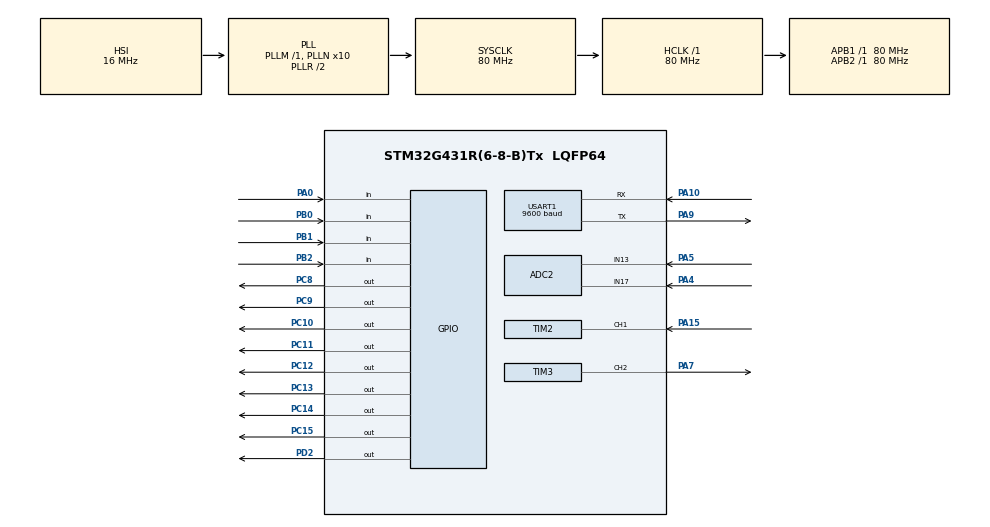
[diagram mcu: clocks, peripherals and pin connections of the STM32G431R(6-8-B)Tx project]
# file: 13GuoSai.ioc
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ADC2.Channel-0\#ChannelRegularConversion=ADC_CHANNEL_17
ADC2.Channel-1\#ChannelRegularConversion=ADC_CHANNEL_13
ADC2.DiscontinuousConvMode=DISABLE
ADC2.NbrOfConversion=2
ADC2.NbrOfConversionFlag=1
ADC2.OffsetNumber-0\#ChannelRegularConversion=ADC_OFFSET_NONE
ADC2.OffsetNumber-1\#ChannelRegularConversion=ADC_OFFSET_NONE
ADC2.Rank-0\#ChannelRegularConversion=1
ADC2.Rank-1\#ChannelRegularConversion=2
ADC2.SamplingTime-0\#ChannelRegularConversion=ADC_SAMPLETIME_640CYCLES_5
ADC2.SamplingTime-1\#ChannelRegularConversion=ADC_SAMPLETIME_640CYCLES_5
Mcu.Family=STM32G4
Mcu.Name=STM32G431R(6-8-B)Tx
Mcu.Package=LQFP64
NVIC.PriorityGroup=NVIC_PRIORITYGROUP_4
NVIC.TIM2_IRQn=true\:1\:0\:true\:false\:true\:true\:true
NVIC.USART1_IRQn=true\:1\:0\:true\:false\:true\:true\:true
PA0.Signal=GPIO_Input
PA10.Mode=Asynchronous
PA10.Signal=USART1_RX
PA13.Mode=Serial_Wire
PA13.Signal=SYS_JTMS-SWDIO
PA14.Mode=Serial_Wire
PA14.Signal=SYS_JTCK-SWCLK
PA15.Signal=S_TIM2_CH1
PA4.Mode=IN17-Single-Ended
PA4.Signal=ADC2_IN17
PA5.Mode=IN13-Single-Ended
PA5.Signal=ADC2_IN13
PA7.Signal=S_TIM3_CH2
PA9.Mode=Asynchronous
PA9.Signal=USART1_TX
PB0.Signal=GPIO_Input
PB1.Signal=GPIO_Input
PB2.Signal=GPIO_Input
PC10.Signal=GPIO_Output
PC11.Signal=GPIO_Output
PC12.Signal=GPIO_Output
PC13.Signal=GPIO_Output
PC14-OSC32_IN.Signal=GPIO_Output
PC15-OSC32_OUT.Signal=GPIO_Output
PC8.Signal=GPIO_Output
PC9.Signal=GPIO_Output
PD2.Signal=GPIO_Output
PF0-OSC_IN.Mode=HSE-External-Oscillator
PF0-OSC_IN.Signal=RCC_OSC_IN
PF1-OSC_OUT.Mode=HSE-External-Oscillator
PF1-OSC_OUT.Signal=RCC_OSC_OUT
ProjectManager.HeapSize=0x200
ProjectManager.StackSize=0x400
ProjectManager.TargetToolchain=MDK-ARM V5
RCC.ADC12Freq_Value=80000000
RCC.AHBFreq_Value=80000000
RCC.APB1Freq_Value=80000000
RCC.APB1TimFreq_Value=80000000
RCC.APB2Freq_Value=80000000
RCC.APB2TimFreq_Value=80000000
RCC.CortexFreq_Value=80000000
RCC.EXTERNAL_CLOCK_VALUE=12288000
RCC.HCLKFreq_Value=80000000
RCC.HSE_VALUE=24000000
RCC.HSI48_VALUE=48000000
RCC.HSI_VALUE=16000000
RCC.LSE_VALUE=32768
RCC.PLLN=10
RCC.SYSCLKFreq_VALUE=80000000
RCC.SYSCLKSource=RCC_SYSCLKSOURCE_PLLCLK
RCC.USBFreq_Value=80000000
RCC.VCOOutputFreq_Value=160000000
SH.S_TIM2_CH1.0=TIM2_CH1,Input_Capture1_from_TI1
SH.S_TIM3_CH2.0=TIM3_CH2,PWM Generation2 CH2
TIM2.Channel-Input_Capture1_from_TI1=TIM_CHANNEL_1
TIM2.PeriodNoDither=10000 - 1
TIM2.Prescaler=79
TIM3.AutoReloadPreload=TIM_AUTORELOAD_PRELOAD_ENABLE
TIM3.Channel-PWM\ Generation2\ CH2=TIM_CHANNEL_2
TIM3.PeriodNoDither=100 - 1
TIM3.Prescaler=8000 - 1
USART1.BaudRate=9600
USART1.VirtualMode-Asynchronous=VM_ASYNC
VP_SYS_VS_DBSignals.Mode=DisableDeadBatterySignals
VP_TIM2_VS_ClockSourceINT.Mode=Internal
VP_TIM3_VS_ClockSourceINT.Mode=Internal
board=custom

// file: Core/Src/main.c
/* USER CODE BEGIN Header */
/**
  ******************************************************************************
  * @file           : main.c
  * @brief          : Main program body
  ******************************************************************************
  * @attention
  *
  * <h2><center>&copy; Copyright (c) 2023 STMicroelectronics.
  * All rights reserved.</center></h2>
  *
  * This software component is licensed by ST under BSD 3-Clause license,
  * the "License"; You may not use this file except in compliance with the
  * License. You may obtain a copy of the License at:
  *                        opensource.org/licenses/BSD-3-Clause
  *
  ******************************************************************************
  */
/* USER CODE END Header */
#include "main.h"
#include "adc.h"
#include "tim.h"
#include "usart.h"
#include "gpio.h"

/* USER CODE BEGIN Includes */
#include "lcd.h"
#include "i2c_hal.h"
#include "stdio.h"
#include "string.h"

/* USER CODE END Includes */

/* USER CODE BEGIN PD */
#define KEY1 HAL_GPIO_ReadPin(GPIOB,GPIO_PIN_0)
#define KEY2 HAL_GPIO_ReadPin(GPIOB,GPIO_PIN_1)
#define KEY3 HAL_GPIO_ReadPin(GPIOB,GPIO_PIN_2)
#define KEY4 HAL_GPIO_ReadPin(GPIOA,GPIO_PIN_0)
/* USER CODE END PD */

/* USER CODE BEGIN PV */
u8 key_val,key_down,key_up,key_old;
double ao1, ao2;
u8 sta_lcd;
u8 ptr[30];

unsigned char tx[21],rx,rx_buf[21],dex;//串口相关变量

u8 tc[128];
u8 tcs = 0;

u8 led_in;
u8 e2prom[5];//EEPROM存储数组

double ao1, ao2;

typedef struct
{
	double cur;
	double maxn;
	double minn;
	double tmmin;
	double avgr;
	int record;
	double sum;
}Vol;

Vol vol4, vol5;

u32 freqPa1, freqPa7;
u8 freqX = 1, VolY = 1;
u8 showN;
u8 lcdf, ff;
/* USER CODE END PV */

void SystemClock_Config(void);

/* USER CODE BEGIN 0 */
void i2c_Read(unsigned char *PucBuff,unsigned char ucAddr,unsigned char ucNum)
{
	I2CStart();
	I2CSendByte(0xa0);
	I2CWaitAck();
	I2CSendByte(ucAddr);
	I2CWaitAck();
	I2CStart();
	I2CSendByte(0xa1);
	I2CWaitAck();
	while(ucNum--)
	{
		*PucBuff++ = I2CReceiveByte();
		if(ucNum)
			I2CSendAck();
		else
			I2CSendNotAck();
	}
	I2CStop();
}

void i2c_Write(unsigned char *PucBuff,unsigned char ucAddr,unsigned char ucNum)
{
	I2CStart();
	I2CSendByte(0xa0);
	I2CWaitAck();
	I2CSendByte(ucAddr);
	I2CWaitAck();
	while(ucNum--)
	{
		I2CSendByte(*PucBuff++);
		I2CWaitAck();
	}
	I2CStop();
	HAL_Delay(5);
}

u8 key_scan()
{
	if((KEY1 == 0)||(KEY2 == 0)||(KEY3 == 0)||(KEY4 == 0))
	{
		HAL_Delay(10);
		if(KEY1 == 0) return 1;
		else if(KEY2 == 0) return 2;
		else if(KEY3 == 0) return 3;
		else if(KEY4 == 0) return 4;
	}return 0;
}

void led_dis(u8 led)
{
	HAL_GPIO_WritePin(GPIOC,0xff00,GPIO_PIN_SET);
	HAL_GPIO_WritePin(GPIOD,GPIO_PIN_2,GPIO_PIN_SET);
	HAL_GPIO_WritePin(GPIOD,GPIO_PIN_2,GPIO_PIN_RESET);

	HAL_GPIO_WritePin(GPIOC,led<<8,GPIO_PIN_RESET);
	HAL_GPIO_WritePin(GPIOD,GPIO_PIN_2,GPIO_PIN_SET);
	HAL_GPIO_WritePin(GPIOD,GPIO_PIN_2,GPIO_PIN_RESET);
}

void getADC(void)
{
	uint16_t adc = 0;
	HAL_ADC_Start(&hadc2);
	adc = HAL_ADC_GetValue(&hadc2);
	ao1 = (3.3 * adc)/4096;
//	HAL_Delay(5);
	HAL_ADC_Start(&hadc2);
	adc = HAL_ADC_GetValue(&hadc2);
	ao2 = (3.3 * adc)/4096;
//	HAL_ADC_Stop(&hadc2);
}

u8 i, j = 0;
void fresh_lcd()
{
	getADC();
	vol4.cur = ao1;
	vol5.cur = ao2;

	if(vol4.tmmin == -1)
	{
		vol4.minn = 3.3;
		vol4.maxn = 0;
		vol4.tmmin = 10;
	}

	if(vol5.tmmin == -1)
	{
		vol5.minn = 3.3;
		vol5.maxn = 0;
		vol5.tmmin = 10;
	}

	vol4.maxn = vol4.maxn < vol4.cur ? vol4.cur : vol4.maxn;
	vol5.maxn = vol5.maxn < vol5.cur ? vol5.cur : vol5.maxn;
	vol4.minn = vol4.minn > vol4.cur ? vol4.cur : vol4.minn;
	vol5.minn = vol5.minn > vol5.cur ? vol5.cur : vol5.minn;

//	for(j = 0; j < vol4.record; j ++)
//		vol4.sum += vol4.all[j];
	vol4.sum += vol4.cur;
	vol4.avgr = vol4.sum / (vol4.record + 1 * 1.0);
//	vol4.sum = 0.0;
	vol4.record ++;

//	for(j = 0; j < vol5.record; j ++)
//		vol5.sum += vol5.all[j];
	vol5.sum += vol5.cur;
	vol5.avgr = vol5.sum / (vol5.record + 1 * 1.0);
//	vol5.sum = 0.0;
	vol5.record++;
}

void key_Proc()
{
	static __IO uint32_t Key_Tick,DKey_Tick;

	if(uwTick - Key_Tick < 50)
		return;

	Key_Tick = uwTick;

	key_val = key_scan();
	key_down = key_val&(key_val^key_old);
	key_up = ~key_val&(key_val^key_old);
	key_old = key_val;

	if(key_down != 0)
		DKey_Tick=uwTick;

	if(uwTick - DKey_Tick > 1000)
	{
		switch(key_up)
		{
			case 4:
				if(!showN)
				{
					vol4.record = 0;
					vol4.maxn = 0;
					vol4.minn = 0;
					vol4.avgr = 0;
					vol4.tmmin = -1;
				}else
				{
					vol5.record = 0;
					vol5.maxn = 0;
					vol5.minn = 0;
					vol5.avgr = 0;
					vol5.tmmin = -1;
				}
			break;
		}
	}
	else
	{
		switch (key_up)
		{
			case 1:
			{
				sta_lcd ++;
				if(sta_lcd == 3)
					sta_lcd = 0;
				LCD_Clear(Black);
				break;
			}
			case 2:
			{
				if(sta_lcd == 1)
				{
					freqX ++;
					if(freqX == 5)
						freqX = 1;
//					i2c_Write(e2prom,0,5);
				}
				break;
			}
			case 3:
			{
				if(sta_lcd == 1)
				{
					VolY ++;
					if(VolY == 5)
						VolY = 1;
//					i2c_Write(e2prom,0,5);
				}
				break;
			}
			case 4:
			{
				if(sta_lcd == 0)
				{
					fresh_lcd();
				}else if(sta_lcd == 1)
				{
					ff = ~ff;
					if(!ff)
					{
						freqPa7 = freqPa1 * freqX;
						__HAL_TIM_SET_AUTORELOAD(&htim3,freqPa7 - 1);
						__HAL_TIM_SET_COMPARE(&htim3,TIM_CHANNEL_2,0.5*freqPa7);
					}else
					{
						freqPa7 = freqPa1 / freqX;
						__HAL_TIM_SET_AUTORELOAD(&htim3,freqPa7 - 1);
						__HAL_TIM_SET_COMPARE(&htim3,TIM_CHANNEL_2,0.5*freqPa7);
					}
				}else if(sta_lcd == 2)
				{
					showN = ~showN;
				}
				break;
			}
		}
	}
}

void lcd_Proc()
{
	if(sta_lcd == 0)
	{
		sprintf((char*)ptr,"        DATA");
		LCD_DisplayStringLine(Line1,(u8*)ptr);
		sprintf((char*)ptr,"     PA4=%.2lf", vol4.cur);
		LCD_DisplayStringLine(Line3,(u8*)ptr);
		sprintf((char*)ptr,"     PA5=%.2lf", vol5.cur);
		LCD_DisplayStringLine(Line4,(u8*)ptr);
		sprintf((char*)ptr,"     PA1=%d      ", freqPa1);
		LCD_DisplayStringLine(Line5,(u8*)ptr);
	}else if(sta_lcd == 1){
		sprintf((char*)ptr,"        PARA");
		LCD_DisplayStringLine(Line1,(u8*)ptr);
		sprintf((char*)ptr,"     X=%d", freqX);
		LCD_DisplayStringLine(Line3,(u8*)ptr);
		sprintf((char*)ptr,"     Y=%d", VolY);
		LCD_DisplayStringLine(Line4,(u8*)ptr);
	}else if(sta_lcd == 2){
		if(!showN)
		{
			sprintf((char*)ptr,"        REC-PA4");
			LCD_DisplayStringLine(Line1,(u8*)ptr);
			sprintf((char*)ptr,"     N=%d", vol4.record);
			LCD_DisplayStringLine(Line3,(u8*)ptr);
			sprintf((char*)ptr,"     A=%.2lf", vol4.maxn);
			LCD_DisplayStringLine(Line4,(u8*)ptr);
			sprintf((char*)ptr,"     T=%.2lf", vol4.minn);
			LCD_DisplayStringLine(Line5,(u8*)ptr);
			sprintf((char*)ptr,"     H=%.2lf", vol4.avgr);
			LCD_DisplayStringLine(Line6,(u8*)ptr);
		}else
		{
			sprintf((char*)ptr,"        REC-PA5");
			LCD_DisplayStringLine(Line1,(u8*)ptr);
			sprintf((char*)ptr,"     N=%d", vol5.record);
			LCD_DisplayStringLine(Line3,(u8*)ptr);
			sprintf((char*)ptr,"     A=%.2lf", vol5.maxn);
			LCD_DisplayStringLine(Line4,(u8*)ptr);
			sprintf((char*)ptr,"     T=%.2lf", vol5.minn);
			LCD_DisplayStringLine(Line5,(u8*)ptr);
			sprintf((char*)ptr,"     H=%.2lf", vol5.avgr);
			LCD_DisplayStringLine(Line6,(u8*)ptr);
		}
	}
}

void led_Proc()
{
	static __IO uint32_t LED_Tick;
//	__HAL_TIM_SET_COMPARE(&htim3,TIM_CHANNEL_2, 20);

	if(ff == 0) // 0 倍频 1 分频
	{
		led_in |= 0x01;
		led_in &= ~(0x02);
	}else
	{
		led_in |= 0x02;
		led_in &= ~(0x01);
	}

	if(vol4.cur > vol5.cur * VolY)
	{
		if(uwTick - LED_Tick > 100)
		{
			LED_Tick = uwTick;
			led_in ^= 0x04;
		}
	}else
	{
		led_in &= ~(0x04);
	}

	if(!lcdf)
		led_in |= 0x08;
	else
		led_in &= ~(0x08);

	led_dis(led_in);
}

void HAL_TIM_IC_CaptureCallback(TIM_HandleTypeDef *htim)
{
	uint32_t  cc1_value = 0;
//	cc1_value = __HAL_TIM_GET_COUNTER(htim);
//	__HAL_TIM_SetCounter(htim,0);
	cc1_value = HAL_TIM_ReadCapturedValue(htim, TIM_CHANNEL_1);
	__HAL_TIM_SetCounter(htim, 0);

	if(htim == &htim2)
	{
			freqPa1 = 1000000 / cc1_value;
//		freqPa1 = (80000000 / 80)/cc1_value;
	}
	HAL_TIM_IC_Start_IT(&htim2, TIM_CHANNEL_1);
}

unsigned char isRxCplt()
{
	if(dex==0)
		return 0;
	else if((dex==1)&&(rx_buf[0]=='X'))
		return 1;
	else if((dex==1)&&(rx_buf[0]=='Y'))
		return 2;
	else if((dex==3)&&(rx_buf[0]=='P')&&(rx_buf[1]=='A')&&(rx_buf[2]=='1'))
		return 3;
	else if((dex==3)&&(rx_buf[0]=='P')&&(rx_buf[1]=='A')&&(rx_buf[2]=='4'))
		return 4;
	else if((dex==3)&&(rx_buf[0]=='P')&&(rx_buf[1]=='A')&&(rx_buf[2]=='5'))
		return 5;
	else if((dex==1)&&(rx_buf[0]=='#'))
		return 6;
	else
		return 7;
}

void Uart_Proc()
{
	static __IO uint32_t Uart_Tick;

	if(uwTick-Uart_Tick<50)
		return;
	Uart_Tick=uwTick;

	if(isRxCplt()==1)
	{
		sprintf((char*)tx,"X:%d\r\n",freqX);
		HAL_UART_Transmit(&huart1,tx,sizeof(tx),50);
	}else if(isRxCplt()==2)
	{
		sprintf((char*)tx,"Y:%d\r\n",VolY);
		HAL_UART_Transmit(&huart1,tx,sizeof(tx),50);
	}else if(isRxCplt()==3)
	{
		sprintf((char*)tx,"PA1:%d\r\n",freqPa1);
		HAL_UART_Transmit(&huart1,tx,sizeof(tx),50);
	}else if(isRxCplt()==4)
	{
		sprintf((char*)tx,"PA4:%.2lf\r\n",vol4.cur);
		HAL_UART_Transmit(&huart1,tx,sizeof(tx),50);
	}else if(isRxCplt()==5)
	{
		sprintf((char*)tx,"PA5:%.2lf\r\n",vol5.cur);
		HAL_UART_Transmit(&huart1,tx,sizeof(tx),50);
	}else if(isRxCplt()==6)
	{
		lcdf = ~lcdf;
	}

	dex=0;
}

void HAL_UART_RxCpltCallback(UART_HandleTypeDef *huart)
{
	rx_buf[dex++]=rx;
	HAL_UART_Receive_IT(&huart1,&rx,1);
}

/* USER CODE END 0 */

int main(void)
{

  /* MCU Configuration--------------------------------------------------------*/

  /* Reset of all peripherals, Initializes the Flash interface and the Systick. */
  HAL_Init();

  /* Configure the system clock */
  SystemClock_Config();

  /* Initialize all configured peripherals */
  MX_GPIO_Init();
  MX_ADC2_Init();
  MX_TIM2_Init();
  MX_TIM3_Init();
  MX_USART1_UART_Init();
  /* USER CODE BEGIN 2 */
	I2CInit();
	LCD_Init();
	LCD_SetBackColor(Black);
	LCD_SetTextColor(White);
	LCD_Clear(Black);
	led_dis(0);
	HAL_TIM_PWM_Start(&htim3, TIM_CHANNEL_2);
	HAL_TIM_IC_Start_IT(&htim2, TIM_CHANNEL_1);
	HAL_UART_Receive_IT(&huart1,&rx,1);

	vol4.tmmin = -1; // 不排序，根据条件判断最小值，第一次判断时，让他等于
	vol5.tmmin = -1;

	getADC();
//	i2c_Read(e2prom,0,5);
//	if((e2prom[2]==0x77)&&(e2prom[3]==0x7A)&&(e2prom[4]==0x64))
//	{
//		freqX = e2prom[0];
//		VolY  = e2prom[1];
//	}
//	else
//	{
//		e2prom[2]=0x77;e2prom[3]=0x7A;e2prom[4]=0x64;
//		e2prom[0] = freqX; e2prom[1] = VolY;
//		i2c_Write(e2prom,0,5);
//	}
  /* USER CODE END 2 */

  /* Infinite loop */
  while (1)
  {

    /* USER CODE BEGIN 3 */

		Uart_Proc();
		key_Proc();
		lcd_Proc();
		led_Proc();

  }
  /* USER CODE END 3 */
}

void SystemClock_Config(void)
{
  RCC_OscInitTypeDef RCC_OscInitStruct = {0};
  RCC_ClkInitTypeDef RCC_ClkInitStruct = {0};
  RCC_PeriphCLKInitTypeDef PeriphClkInit = {0};

  /** Configure the main internal regulator output voltage
  */
  HAL_PWREx_ControlVoltageScaling(PWR_REGULATOR_VOLTAGE_SCALE1);
  /** Initializes the RCC Oscillators according to the specified parameters
  * in the RCC_OscInitTypeDef structure.
  */
  RCC_OscInitStruct.OscillatorType = RCC_OSCILLATORTYPE_HSI;
  RCC_OscInitStruct.HSIState = RCC_HSI_ON;
  RCC_OscInitStruct.HSICalibrationValue = RCC_HSICALIBRATION_DEFAULT;
  RCC_OscInitStruct.PLL.PLLState = RCC_PLL_ON;
  RCC_OscInitStruct.PLL.PLLSource = RCC_PLLSOURCE_HSI;
  RCC_OscInitStruct.PLL.PLLM = RCC_PLLM_DIV1;
  RCC_OscInitStruct.PLL.PLLN = 10;
  RCC_OscInitStruct.PLL.PLLP = RCC_PLLP_DIV2;
  RCC_OscInitStruct.PLL.PLLQ = RCC_PLLQ_DIV2;
  RCC_OscInitStruct.PLL.PLLR = RCC_PLLR_DIV2;
  if (HAL_RCC_OscConfig(&RCC_OscInitStruct) != HAL_OK)
  {
    Error_Handler();
  }
  /** Initializes the CPU, AHB and APB buses clocks
  */
  RCC_ClkInitStruct.ClockType = RCC_CLOCKTYPE_HCLK|RCC_CLOCKTYPE_SYSCLK
                              |RCC_CLOCKTYPE_PCLK1|RCC_CLOCKTYPE_PCLK2;
  RCC_ClkInitStruct.SYSCLKSource = RCC_SYSCLKSOURCE_PLLCLK;
  RCC_ClkInitStruct.AHBCLKDivider = RCC_SYSCLK_DIV1;
  RCC_ClkInitStruct.APB1CLKDivider = RCC_HCLK_DIV1;
  RCC_ClkInitStruct.APB2CLKDivider = RCC_HCLK_DIV1;

  if (HAL_RCC_ClockConfig(&RCC_ClkInitStruct, FLASH_LATENCY_2) != HAL_OK)
  {
    Error_Handler();
  }
  /** Initializes the peripherals clocks
  */
  PeriphClkInit.PeriphClockSelection = RCC_PERIPHCLK_USART1|RCC_PERIPHCLK_ADC12;
  PeriphClkInit.Usart1ClockSelection = RCC_USART1CLKSOURCE_PCLK2;
  PeriphClkInit.Adc12ClockSelection = RCC_ADC12CLKSOURCE_SYSCLK;
  if (HAL_RCCEx_PeriphCLKConfig(&PeriphClkInit) != HAL_OK)
  {
    Error_Handler();
  }
}

void Error_Handler(void)
{
  __disable_irq();
  while (1)
  {
  }
}

/************************ (C) COPYRIGHT STMicroelectronics *****END OF FILE****/
